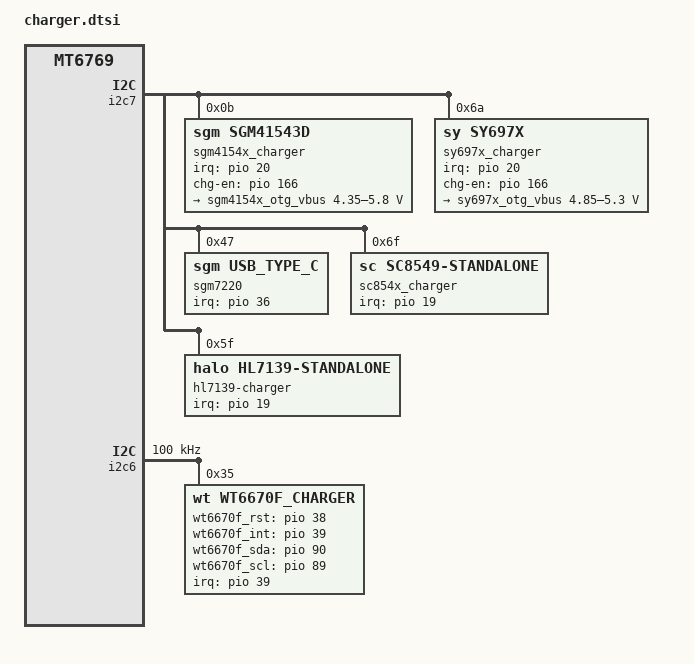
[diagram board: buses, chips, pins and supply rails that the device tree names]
/*
 * Contain all of the charger, qc3+, cc logic, charger pump dts configuration
 *
 * I2C Slave Address of SGM41541/SGM41542 is: 0x3B
 * I2C Slave Address of SGM41516/SGM41516D is: 0x6B
 */

/ {
    chg_pmup_eint:chg_pmup_eint{
    };

    main_chg_pmu_eint:main_chg_pmu_eint{
    };

    cc_cntl_eint:cc_cntl_eint{
    };

    iddig_otg:iddig_otg{
    };
};

&charger {
        max_charger_voltage = <14000000>;
        battery_cv = <4450000>;
        min_charger_voltage = <4600000>;
};

&odm {
    qc_chrg_manager: qc_chrg_manager {
        compatible = "qc,chrg-manager";
        qc,pps-volt-steps = <20000>;
        qc,pps-curr-steps = <40000>;
        qc,qc-volt-max = <12000000>;
        qc,qc-curr-max = <3000000>;
        qc,batt-curr-boost = <300000>;
        qc.batt-ovp-limit= <4550000>;
        qc,pps-volt-comp = <500000>;

        qc,pl-chrg-vbatt-min= <3600000>;
        qc,typec-middle-current= <800000>;
        qc,step-first-current-comp = <0>;
        qc,dont-rerun-aicl;

        qc,qc-temp-zones-num = <5>;
        qc,qc-chrg-temp-zones =
        <0  4200 1000 0    0>,
        <10 4250 2500 4450 1000>,
        <15 4450 2500 0    0>,
        <45 4300 5800 4480 4000>,
        <60 4200 4000 0    0>;

        qc,mmi-ffc-zones =
        <4200 243>,
        <4250 243>,
        <4450 243>,
        <4480 575>,
        <4480 635>,
        <4480 661>,
        <4200 243>;

        qc,thermal-min-level = <1200000>;
        qc,sw-charging-curr-limited = <500000>;
        qc,qc-charging-curr-min = <1200000>;
    };
};

&i2c7 {
    sgm4154x_charger: sgm4154x@0B {
        status = "okay";
        compatible = "sgm,sgm41543D";
        reg = <0x0B>;
        interrupt-parent = <&pio>;
        interrupts = <20 0>;
        sgm,irq-gpio = <&pio 20 0>;
        sgm,chg-en-gpio = <&pio 166 0>;
        sgm,is-advanced = <33>;
        /* sw jeita  parameter customer defined*/
        //enable_sw_jeita;
        jeita_temp_above_t4_cv = <0>;
        jeita_temp_t3_to_t4_cv = <4100000>;
        jeita_temp_t2_to_t3_cv = <4350000>;
        jeita_temp_t1_to_t2_cv = <4350000>;
        jeita_temp_t0_to_t1_cv = <0>;
        jeita_temp_below_t0_cv = <0>;

        jeita_temp_above_t4_cc_current = <0>;
        jeita_temp_t3_to_t4_cc_current = <1000000>;
        jeita_temp_t2_to_t3_cc_current = <1250000>;
        jeita_temp_t1_to_t2_cc_current = <1000000>;
        jeita_temp_below_t0_cc_current = <0>;

        temp_t4_thres = <50>;
        temp_t4_thres_minus_x_degree = <48>;
        temp_t3_thres = <45>;
        temp_t3_thres_minus_x_degree = <45>;
        temp_t2_thres = <20>;
        temp_t2_thres_plus_x_degree = <15>;
        temp_t1_thres = <0>;
        temp_t1_thres_plus_x_degree = <0>;
        temp_t0_thres = <0>;
        temp_t0_thres_plus_x_degree = <2>;
        temp_neg_10_thres = <0>;
        sgm4154x_otg_vbus: usb-otg-vbus {
            regulator-compatible = "usb-otg-vbus";
            regulator-name = "usb-otg-vbus";
            regulator-min-microvolt = <4350000>;
            regulator-max-microvolt = <5800000>;
            regulator-min-microamp = <500000>;
            regulator-max-microamp = <3000000>;
        };
    };

    sy697x_charger: sy697x@6A {
        status = "okay";
        compatible = "sy,sy697x";
        reg = <0x6A>;
        interrupt-parent = <&pio>;
        interrupts = <20 0>;
        sy,irq-gpio = <&pio 20 0>;
        sy,chg-en-gpio = <&pio 166 0>;   //gpio num base on hardware design

        chg_name = "primary_chg";
        alias_name = "sy6970";
        input-voltage-limit-microvolt = <4600000>;
        sy,is-advanced = <33>;

        /* sw jeita  parameter customer defined*/
        /* enable_sw_jeita; */
        jeita_temp_above_t4_cv = <0>;
        jeita_temp_t3_to_t4_cv = <4100000>;
        jeita_temp_t2_to_t3_cv = <4350000>;
        jeita_temp_t1_to_t2_cv = <4350000>;
        jeita_temp_t0_to_t1_cv = <0>;
        jeita_temp_below_t0_cv = <0>;

        jeita_temp_above_t4_cc_current = <0>;
        jeita_temp_t3_to_t4_cc_current = <1000000>;
        jeita_temp_t2_to_t3_cc_current = <1250000>;
        jeita_temp_t1_to_t2_cc_current = <1000000>;
        jeita_temp_below_t0_cc_current = <0>;

        temp_t4_thres = <50>;
        temp_t4_thres_minus_x_degree = <48>;
        temp_t3_thres = <45>;
        temp_t3_thres_minus_x_degree = <45>;
        temp_t2_thres = <20>;
        temp_t2_thres_plus_x_degree = <15>;
        temp_t1_thres = <0>;
        temp_t1_thres_plus_x_degree = <0>;
        temp_t0_thres = <0>;
        temp_t0_thres_plus_x_degree = <2>;
        temp_neg_10_thres = <0>;
        sy697x_otg_vbus: usb-otg-vbus {
            regulator-compatible = "sy697x,otg-vbus";
            regulator-name = "usb-otg-vbus";
            regulator-min-microvolt = <4850000>;
            regulator-max-microvolt = <5300000>;
            regulator-min-microamp = <1000000>;
            regulator-max-microamp = <2200000>;
        };
    };

     sgm7220@47{
        status = "okay";
        compatible = "sgm,usb_type_c";
        reg = <0x47>;
        interrupt-parent = <&pio>;
        interrupts = <36 0>;
        sgm7220,irq-gpio = <&pio 36 0>;
    };
};

&i2c7 {
    sc854x_charger: sc8549@6F{
        status = "okay";
        compatible = "sc,sc8549-standalone";
        reg = <0x6F>;
        interrupt-parent = <&pio>;
        interrupts = <19 0>;
        sc,sc854x,irq-gpio = <&pio 19 0x00>;
        /*sc,sc854x,bat-ovp-disable;*/
        sc,sc854x,bat-ocp-disable;
        /*sc,sc854x,vdrop-ovp-disable;*/
        /*sc,sc854x,bus-ovp-disable;*/
        /*sc,sc854x,bus-ucp-disable;*/
        /*sc,sc854x,bus-ocp-disable;*/

        sc,sc854x,bat-ovp-threshold = <4525>;/*mv*/
        sc,sc854x,bat-ocp-threshold = <7000>;/*mA*/
        sc,sc854x,ac-ovp-threshold = <13000>;/*mv*/
        sc,sc854x,bus-ovp-threshold = <11000>;/*mv*/
        sc,sc854x,bus-ocp-threshold = <3500>;/*ma*/
        sc,sc854x,sense-resistor-mohm = <5>;/*mΩ*/
    };

    hl7139-charger@5F {
        compatible = "halo,hl7139-standalone";
        reg = <0x5F>;
        interrupt-parent = <&pio>;
        intterrupts = <19 0>;
        hl7139,irq-gpio = <&pio 19 0x00>;
        /* hl,hl7139,bat-ovp-disable = <1>; */
        hl,hl7139,bat-ocp-disable = <1>;
        /* hl,hl7139,vin-ovp-disable = <1>; */
        /* hl,hl7139,iin-ocp-disable = <1>; */
        /* hl,hl7139,vout-ovp-disable = <1>; */

        hl,hl7139,bat-ovp-threshold = <4525>;/*mv*/
        hl,hl7139,bat-ocp-threshold = <7000>;/*ma*/
        hl,hl7139,vin-ovp-threshold = <11000>;/*mv*/
        hl,hl7139,bus-ovp-threshold = <13000>;/*mv*/
    };
};

&pio {
    /* wt6670f */
    wt6670f_int_normal: wt6670f_int_normal {
        pins_cmd_dat {
            pinmux = <PINMUX_GPIO39__FUNC_GPIO39>;
            slew-rate = <0>;
            bias-pull-up = <1>;
            input-enable;
        };
    };

    wt6670f_int_isp: wt6670f_int_isp {
        pins_cmd_dat {
            pinmux = <PINMUX_GPIO39__FUNC_GPIO39>;
            slew-rate = <0>;
            bias-pull-up = <1>;
            input-enable;
        };
    };

    wt6670f_default: wt6670f_default {
    };

    wt6670f_rst_normal: wt6670f_rst_normal {
        pins_cmd_dat {
            pinmux = <PINMUX_GPIO38__FUNC_GPIO38>;
            slew-rate = <1>;
            bias-disable;
            output-high;
        };
    };

    wt6670f_rst_isp: wt6670f_rst_isp {
        pins_cmd_dat {
            pinmux = <PINMUX_GPIO38__FUNC_GPIO38>;
            slew-rate = <1>;
            bias-disable;
            output-low;
        };
    };


    wt6670f_sda_normal: wt6670f_sda_normal {
        pins_cmd_dat {
            pinmux = <PINMUX_GPIO90__FUNC_SDA6>;
            slew-rate = <0>;
            bias-pull-up = <1>;
        };
    };

    wt6670f_sda_isp: wt6670f_sda_isp {
        pins_cmd_dat {
            pinmux = <PINMUX_GPIO90__FUNC_GPIO90>;
            slew-rate = <1>;
            output-low;
        };
    };

    wt6670f_scl_normal: wt6670f_scl_normal {
        pins_cmd_dat {
            pinmux = <PINMUX_GPIO89__FUNC_SCL6>;
            slew-rate = <0>;
            bias-pull-up = <1>;
        };
    };

    wt6670f_scl_isp: wt6670f_scl_isp {
        pins_cmd_dat {
            pinmux = <PINMUX_GPIO89__FUNC_GPIO89>;
            slew-rate = <1>;
            output-low;
        };
    };
};

&i2c6 {
    clock-frequency = <100000>;

    wt6670f_charger: wt6670f_charger@35{
        status = "okay";
        compatible = "wt,wt6670f_charger";
        reg = <0x35>;
        interrupt-parent = <&pio>;
        interrupts = <39 0>;
        pinctrl-names ="default", "rst_normal", "rst_isp", "scl_normal", "scl_isp", "sda_normal", "sda_isp";
        pinctrl-0 = <&wt6670f_default>;
        pinctrl-1 = <&wt6670f_rst_normal>;
        pinctrl-2 = <&wt6670f_rst_isp>;
        pinctrl-3 = <&wt6670f_scl_normal>;
        pinctrl-4 = <&wt6670f_scl_isp>;
        pinctrl-5 = <&wt6670f_sda_normal>;
        pinctrl-6 = <&wt6670f_sda_isp>;
        /*wt,penang_unsupport;*/
        wt,wt6670f_rst_gpio = <&pio 38 0x00>;
        wt,wt6670f_int_gpio = <&pio 39 0x00>;
        wt,wt6670f_sda_gpio = <&pio 90 0x00>;
        wt,wt6670f_scl_gpio = <&pio 89 0x00>;
    };
};

&bat_gm30 {
    #include "mediatek/bat_setting/mt6769_battery_table_ext_NH50_SUNWOD.dtsi"
    #include "mediatek/bat_setting/mt6769_battery_table_ext_NH50_ATL.dtsi"
    #include "mediatek/bat_setting/mt6769_battery_table_ext_PH50_SUNWOD.dtsi"
    #include "mediatek/bat_setting/mt6769_battery_table_ext_PH50_ATL.dtsi"
};

&bat_gm30 {
    DIFFERENCE_FULLOCV_ITH = <(650)>;//
    R_FG_VALUE = <(5)>;
    CURR_MEASURE_20A = <(0)>;
    UNIT_MULTIPLE = <(1)>;
    EMBEDDED_SEL = <(1)>;   /* embedded battery*/
    COM_FG_METER_RESISTANCE = <(100)>;
    CAR_TUNE_VALUE = <(101)>;
    FG_METER_RESISTANCE = <(100)>; /*  The resistance of PCB*/

    g_Q_MAX = <
        /*bat1,   bat2,   bat3,    bat4*/
        4868 4923 4765 4895/*T0*/
        4914 4897 4847 4990/*T1*/
        4906 5009 4859 4962/*T2*/
        4935 5027 4842 4964/*T3*/
        4803 4934 4646 4945/*T4*/
        3488 3488 3488 3488/*T5*/
        3488 3488 3488 3488/*T6*/
        3488 3488 3488 3488/*T7*/
        3488 3488 3488 3488/*T8*/
        3488 3488 3488 3488/*T9*/
    >;

    g_Q_MAX_H_CURRENT = <
        /*bat1,   bat2,   bat3,    bat4*/
        4849 4891 4749 4866/*T0*/
        4892 4810 4824 4957/*T1*/
        4867 4851 4816 4852/*T2*/
        4786 4374 4672 4350/*T3*/
        4552 3202 4325 3172/*T4*/
        3488 3488 3488 3488/*T5*/
        3488 3488 3488 3488/*T6*/
        3488 3488 3488 3488/*T7*/
        3488 3488 3488 3488/*T8*/
        3488 3488 3488 3488/*T9*/
    >;

    g_FG_PSEUDO100 = <
        /*bat1,   bat2,   bat3,    bat4*/
        98 98 93 97/*T0*/
        98 98 93 97/*T1*/
        98 98 93 97/*T2*/
        98 98 93 97/*T3*/
        98 98 93 97/*T4*/
        100 100 100 100/*T5*/
        100 100 100 100/*T6*/
        100 100 100 100/*T7*/
        100 100 100 100/*T8*/
        100 100 100 100/*T9*/
    >;
};
